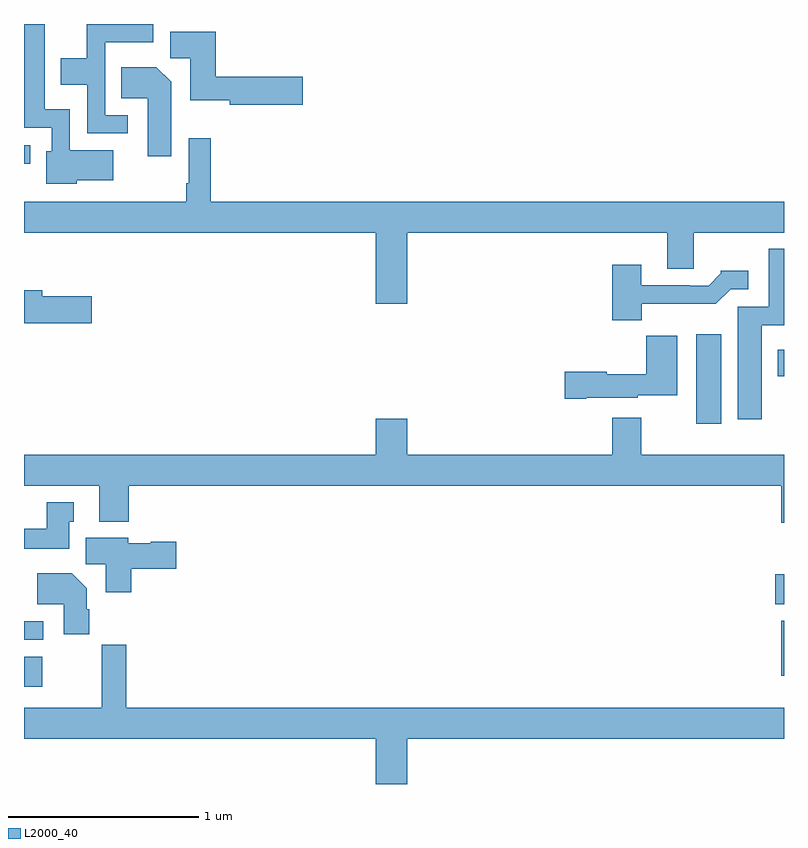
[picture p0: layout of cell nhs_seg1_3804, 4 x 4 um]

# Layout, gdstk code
import gdstk
lib = gdstk.Library(unit=1e-6, precision=1e-09)
def R(c, l, rs):  # rectangles x0, y0, x1, y1
    for r in rs: c.add(gdstk.rectangle(r[:2], r[2:], *l))
def P(c, l, *ps):  # polygons
    for p in ps: c.add(gdstk.Polygon(p, *l))
L2000_40 = (2000, 40)

nhs_seg1_3804 = lib.new_cell('nhs_seg1_3804')
R(nhs_seg1_3804, L2000_40, [(319,514.712,319.096,514.87), (322.985,514.77,323,515.059), (319,514.959,319.102,515.055), (322.953,515.144,323,515.302), (322.538,516.096,322.669,516.565), (322.967,516.344,323,516.484), (319,517.463,319.033,517.56)])
P(nhs_seg1_3804, L2000_40, [(319.546,517.719),(319.428,517.719),(319.428,518.102),(319.681,518.102),(319.681,518.199),(319.33,518.199),(319.33,518.02),(319.193,518.02),(319.193,517.88),(319.332,517.88),(319.332,517.623),(319.546,517.623)],
  [(319.278,517.376),(319.471,517.376),(319.471,517.534),(319.242,517.534),(319.242,517.75),(319.108,517.75),(319.108,518.199),(319,518.199),(319,517.653),(319.146,517.653),(319.146,517.53),(319.118,517.53),(319.118,517.358),(319.278,517.358)],
  [(320.467,517.922),(320.009,517.922),(320.009,518.158),(319.769,518.158),(319.769,518.02),(319.874,518.02),(319.874,517.799),(320.082,517.799),(320.082,517.775),(320.467,517.775)],
  [(319.774,517.894),(319.696,517.972),(319.513,517.972),(319.513,517.808),(319.652,517.808),(319.652,517.503),(319.774,517.503)],
  [(319.982,517.597),(319.866,517.597),(319.866,517.36),(319.854,517.36),(319.854,517.264),(319,517.264),(319,517.1),(320.852,517.1),(320.852,516.726),(321.016,516.726),(321.016,517.1),(322.385,517.1),(322.385,516.91),(322.525,516.91),(322.525,517.1),(323,517.1),(323,517.264),(319.982,517.264)],
  [(322.882,516.614),(323,516.614),(323,517.015),(322.92,517.015),(322.92,516.711),(322.757,516.711),(322.757,516.12),(322.882,516.12)],
  [(322.252,516.726),(322.641,516.726),(322.719,516.804),(322.813,516.804),(322.813,516.901),(322.668,516.901),(322.668,516.886),(322.604,516.822),(322.505,516.822),(322.505,516.825),(322.249,516.825),(322.249,516.931),(322.097,516.931),(322.097,516.641),(322.252,516.641)],
  [(319.357,516.765),(319.096,516.765),(319.096,516.799),(319,516.799),(319,516.623),(319.357,516.623)],
  [(321.958,516.233),(322.23,516.233),(322.23,516.245),(322.438,516.245),(322.438,516.559),(322.276,516.559),(322.276,516.355),(322.068,516.355),(322.068,516.368),(321.846,516.368),(321.846,516.226),(321.958,516.226)],
  [(323,515.932),(322.249,515.932),(322.249,516.127),(322.097,516.127),(322.097,515.932),(321.016,515.932),(321.016,516.121),(320.852,516.121),(320.852,515.932),(319,515.932),(319,515.768),(319.397,515.768),(319.397,515.579),(319.55,515.579),(319.55,515.768),(322.985,515.768),(322.985,515.574),(323,515.574)],
  [(319.237,515.58),(319.261,515.58),(319.261,515.683),(319.121,515.683),(319.121,515.542),(319,515.542),(319,515.438),(319.237,515.438)],
  [(319.565,515.333),(319.801,515.333),(319.801,515.475),(319.668,515.475),(319.668,515.467),(319.548,515.467),(319.548,515.494),(319.325,515.494),(319.325,515.356),(319.43,515.356),(319.43,515.208),(319.565,515.208)],
  [(319.343,515.12),(319.33,515.12),(319.33,515.23),(319.252,515.308),(319.069,515.308),(319.069,515.144),(319.208,515.144),(319.208,514.986),(319.343,514.986)],
  [(321.016,514.436),(323,514.436),(323,514.6),(319.538,514.6),(319.538,514.933),(319.41,514.933),(319.41,514.6),(319,514.6),(319,514.436),(320.852,514.436),(320.852,514.199),(321.016,514.199)])

lib.write_gds('nhs_seg1_3804.gds')
